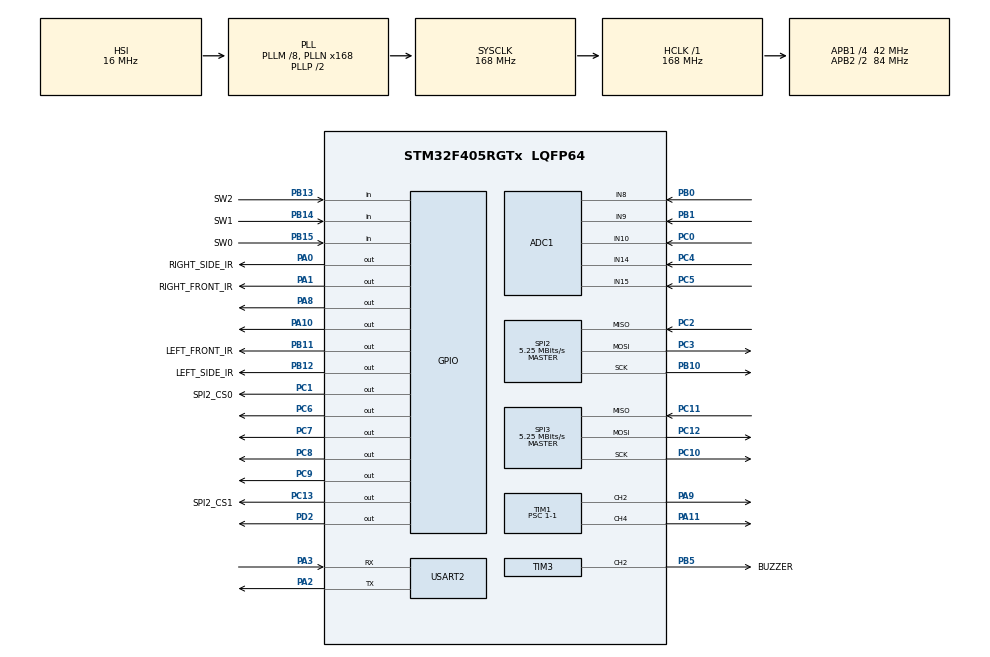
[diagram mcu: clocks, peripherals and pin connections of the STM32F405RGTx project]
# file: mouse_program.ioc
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ADC1.Channel-10\#ChannelRegularConversion=ADC_CHANNEL_14
ADC1.Channel-11\#ChannelRegularConversion=ADC_CHANNEL_10
ADC1.Channel-7\#ChannelRegularConversion=ADC_CHANNEL_9
ADC1.Channel-8\#ChannelRegularConversion=ADC_CHANNEL_8
ADC1.Channel-9\#ChannelRegularConversion=ADC_CHANNEL_15
ADC1.ContinuousConvMode=ENABLE
ADC1.DMAContinuousRequests=ENABLE
ADC1.DiscontinuousConvMode=DISABLE
ADC1.EOCSelection=ADC_EOC_SEQ_CONV
ADC1.NbrOfConversion=5
ADC1.NbrOfConversionFlag=1
ADC1.Rank-10\#ChannelRegularConversion=4
ADC1.Rank-11\#ChannelRegularConversion=5
ADC1.Rank-7\#ChannelRegularConversion=1
ADC1.Rank-8\#ChannelRegularConversion=2
ADC1.Rank-9\#ChannelRegularConversion=3
ADC1.SamplingTime-10\#ChannelRegularConversion=ADC_SAMPLETIME_15CYCLES
ADC1.SamplingTime-11\#ChannelRegularConversion=ADC_SAMPLETIME_28CYCLES
ADC1.SamplingTime-7\#ChannelRegularConversion=ADC_SAMPLETIME_15CYCLES
ADC1.SamplingTime-8\#ChannelRegularConversion=ADC_SAMPLETIME_15CYCLES
ADC1.SamplingTime-9\#ChannelRegularConversion=ADC_SAMPLETIME_15CYCLES
ADC1.ScanConvMode=ENABLE
ADC1.master=1
Dma.ADC1.0.Direction=DMA_PERIPH_TO_MEMORY
Dma.ADC1.0.FIFOMode=DMA_FIFOMODE_DISABLE
Dma.ADC1.0.Instance=DMA2_Stream0
Dma.ADC1.0.MemDataAlignment=DMA_MDATAALIGN_HALFWORD
Dma.ADC1.0.MemInc=DMA_MINC_ENABLE
Dma.ADC1.0.Mode=DMA_CIRCULAR
Dma.ADC1.0.PeriphDataAlignment=DMA_PDATAALIGN_HALFWORD
Dma.ADC1.0.PeriphInc=DMA_PINC_DISABLE
Dma.ADC1.0.Priority=DMA_PRIORITY_LOW
Dma.Request0=ADC1
Mcu.Family=STM32F4
Mcu.Name=STM32F405RGTx
Mcu.Package=LQFP64
NVIC.DMA2_Stream0_IRQn=true\:0\:0\:false\:false\:true\:false\:true\:true
NVIC.PriorityGroup=NVIC_PRIORITYGROUP_4
NVIC.TIM4_IRQn=true\:0\:0\:false\:false\:true\:true\:true\:true
NVIC.TIM5_IRQn=true\:0\:0\:false\:false\:true\:true\:true\:true
PA0-WKUP.GPIO_Label=RIGHT_SIDE_IR
PA0-WKUP.Signal=GPIO_Output
PA1.GPIO_Label=RIGHT_FRONT_IR
PA1.Signal=GPIO_Output
PA10.Signal=GPIO_Output
PA11.Signal=S_TIM1_CH4
PA13.Mode=Trace_Asynchronous_SW
PA13.Signal=SYS_JTMS-SWDIO
PA14.Mode=Trace_Asynchronous_SW
PA14.Signal=SYS_JTCK-SWCLK
PA2.Mode=Asynchronous
PA2.Signal=USART2_TX
PA3.Mode=Asynchronous
PA3.Signal=USART2_RX
PA8.Signal=GPIO_Output
PA9.Signal=S_TIM1_CH2
PB0.Signal=ADCx_IN8
PB1.Signal=ADCx_IN9
PB10.Mode=Full_Duplex_Master
PB10.Signal=SPI2_SCK
PB11.GPIO_Label=LEFT_FRONT_IR
PB11.Signal=GPIO_Output
PB12.GPIO_Label=LEFT_SIDE_IR
PB12.Signal=GPIO_Output
PB13.GPIO_Label=SW2
PB13.Signal=GPIO_Input
PB14.GPIO_Label=SW1
PB14.Signal=GPIO_Input
PB15.GPIO_Label=SW0
PB15.Signal=GPIO_Input
PB3.Mode=Trace_Asynchronous_SW
PB3.Signal=SYS_JTDO-SWO
PB5.GPIO_Label=BUZZER
PB5.Signal=S_TIM3_CH2
PC0.Signal=ADCx_IN10
PC1.GPIO_Label=SPI2_CS0
PC1.PinState=GPIO_PIN_SET
PC1.Signal=GPIO_Output
PC10.Mode=Full_Duplex_Master
PC10.Signal=SPI3_SCK
PC11.Mode=Full_Duplex_Master
PC11.Signal=SPI3_MISO
PC12.Mode=Full_Duplex_Master
PC12.Signal=SPI3_MOSI
PC13-ANTI_TAMP.GPIO_Label=SPI2_CS1
PC13-ANTI_TAMP.PinState=GPIO_PIN_SET
PC13-ANTI_TAMP.Signal=GPIO_Output
PC2.Mode=Full_Duplex_Master
PC2.Signal=SPI2_MISO
PC3.Mode=Full_Duplex_Master
PC3.Signal=SPI2_MOSI
PC4.Signal=ADCx_IN14
PC5.Signal=ADCx_IN15
PC6.Signal=GPIO_Output
PC7.Signal=GPIO_Output
PC8.Signal=GPIO_Output
PC9.Signal=GPIO_Output
PD2.PinState=GPIO_PIN_SET
PD2.Signal=GPIO_Output
ProjectManager.HeapSize=0x200
ProjectManager.StackSize=0x400
ProjectManager.TargetToolchain=STM32CubeIDE
RCC.48MHZClocksFreq_Value=84000000
RCC.AHBFreq_Value=168000000
RCC.APB1CLKDivider=RCC_HCLK_DIV4
RCC.APB1Freq_Value=42000000
RCC.APB1TimFreq_Value=84000000
RCC.APB2CLKDivider=RCC_HCLK_DIV2
RCC.APB2Freq_Value=84000000
RCC.APB2TimFreq_Value=168000000
RCC.CortexFreq_Value=168000000
RCC.HCLKFreq_Value=168000000
RCC.HSE_VALUE=25000000
RCC.HSI_VALUE=16000000
RCC.LSE_VALUE=32768
RCC.PLLM=8
RCC.PLLN=168
RCC.SYSCLKFreq_VALUE=168000000
RCC.SYSCLKSource=RCC_SYSCLKSOURCE_PLLCLK
RCC.VCOOutputFreq_Value=336000000
SH.ADCx_IN10.0=ADC1_IN10,IN10
SH.ADCx_IN14.0=ADC1_IN14,IN14
SH.ADCx_IN15.0=ADC1_IN15,IN15
SH.ADCx_IN8.0=ADC1_IN8,IN8
SH.ADCx_IN9.0=ADC1_IN9,IN9
SH.S_TIM1_CH2.0=TIM1_CH2,PWM Generation2 CH2
SH.S_TIM1_CH4.0=TIM1_CH4,PWM Generation4 CH4
SH.S_TIM3_CH2.0=TIM3_CH2,PWM Generation2 CH2
SPI2.BaudRatePrescaler=SPI_BAUDRATEPRESCALER_8
SPI2.CLKPhase=SPI_PHASE_2EDGE
SPI2.CalculateBaudRate=5.25 MBits/s
SPI2.DataSize=SPI_DATASIZE_16BIT
SPI2.Direction=SPI_DIRECTION_2LINES
SPI2.Mode=SPI_MODE_MASTER
SPI2.VirtualType=VM_MASTER
SPI3.BaudRatePrescaler=SPI_BAUDRATEPRESCALER_8
SPI3.CLKPhase=SPI_PHASE_2EDGE
SPI3.CLKPolarity=SPI_POLARITY_HIGH
SPI3.CalculateBaudRate=5.25 MBits/s
SPI3.DataSize=SPI_DATASIZE_8BIT
SPI3.Direction=SPI_DIRECTION_2LINES
SPI3.Mode=SPI_MODE_MASTER
SPI3.VirtualType=VM_MASTER
TIM1.Channel-PWM\ Generation2\ CH2=TIM_CHANNEL_2
TIM1.Channel-PWM\ Generation4\ CH4=TIM_CHANNEL_4
TIM1.Period=500-1
TIM1.Prescaler=1-1
TIM2.Prescaler=84-1
TIM3.Channel-PWM\ Generation2\ CH2=TIM_CHANNEL_2
TIM4.Period=250-1
TIM4.Prescaler=84-1
TIM5.Period=1000-1
TIM5.Prescaler=84-1
USART2.VirtualMode=VM_ASYNC
VP_TIM1_VS_ClockSourceINT.Mode=Internal
VP_TIM2_VS_ClockSourceINT.Mode=Internal
VP_TIM3_VS_ClockSourceINT.Mode=Internal
VP_TIM4_VS_ClockSourceINT.Mode=Internal
VP_TIM5_VS_ClockSourceINT.Mode=Internal
board=custom

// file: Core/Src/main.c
/* USER CODE BEGIN Header */
/**
  ******************************************************************************
  * @file           : main.c
  * @brief          : Main program body
  ******************************************************************************
  * @attention
  *
  * Copyright (c) 2022 STMicroelectronics.
  * All rights reserved.
  *
  * This software is licensed under terms that can be found in the LICENSE file
  * in the root directory of this software component.
  * If no LICENSE file comes with this software, it is provided AS-IS.
  *
  ******************************************************************************
  */
/* USER CODE END Header */
#include "main.h"

/* USER CODE BEGIN Includes */
#include <delay_us.h>
#include <global.h>
#include <run.h>
/* USER CODE END Includes */

ADC_HandleTypeDef hadc1;
DMA_HandleTypeDef hdma_adc1;

SPI_HandleTypeDef hspi2;
SPI_HandleTypeDef hspi3;

TIM_HandleTypeDef htim1;
TIM_HandleTypeDef htim2;
TIM_HandleTypeDef htim3;
TIM_HandleTypeDef htim4;
TIM_HandleTypeDef htim5;

UART_HandleTypeDef huart2;

void SystemClock_Config(void);
static void MX_GPIO_Init(void);
static void MX_DMA_Init(void);
static void MX_ADC1_Init(void);
static void MX_SPI2_Init(void);
static void MX_TIM1_Init(void);
static void MX_TIM2_Init(void);
static void MX_TIM3_Init(void);
static void MX_USART2_UART_Init(void);
static void MX_SPI3_Init(void);
static void MX_TIM4_Init(void);
static void MX_TIM5_Init(void);

int main(void)
{

  /* MCU Configuration--------------------------------------------------------*/

  /* Reset of all peripherals, Initializes the Flash interface and the Systick. */
  HAL_Init();

  /* Configure the system clock */
  SystemClock_Config();

  /* Initialize all configured peripherals */
  MX_GPIO_Init();
  MX_DMA_Init();
  MX_ADC1_Init();
  MX_SPI2_Init();
  MX_TIM1_Init();
  MX_TIM2_Init();
  MX_TIM3_Init();
  MX_USART2_UART_Init();
  MX_SPI3_Init();
  MX_TIM4_Init();
  MX_TIM5_Init();
  /* USER CODE BEGIN 2 */
  HAL_ADC_Start_DMA(&hadc1, (uint32_t*)adc_raw, 5);
  HAL_TIM_Base_Start(&htim2);
  HAL_TIM_Base_Start_IT(&htim4);
  HAL_TIM_Base_Start_IT(&htim5);
  int mode = 0;
  imu_init();
  init_maze();

  /* USER CODE END 2 */

  /* Infinite loop */
  /* USER CODE BEGIN WHILE */
  while (1)
  {
    switch (mode) {
      case 1:
        if (HAL_GPIO_ReadPin(SW1_GPIO_Port, SW1_Pin) == 0) {
          led_control(0xF);
          HAL_Delay(4000);
          led_control(0x0);
					angle_measured = 0;
					mypos.x = mypos.y = 0;			//座標を初期化
					mypos.dir = north;			//方角を初期化
          search_adachi(7, 7, 0.3, 1.0, 270.0, 270.0);
					//turn(180,TURN_ACCEL,TURN_SPEED,RIGHT);			//ゴールしたら180度回転する
					// mypos.dir = (mypos.dir+6) % 4;		//方角を更新
					// map_write();
					HAL_Delay(100);
					//search_adachi(0,0);			//スタート地点まで足立法で帰ってくる
					//turn(180,TURN_ACCEL,TURN_SPEED,RIGHT);			//帰ってきたら180度回転
					// map_write();

        }
        break;
      case 2:
        if (HAL_GPIO_ReadPin(SW1_GPIO_Port, SW1_Pin) == 0) {
          led_control(0xF);
          HAL_Delay(4000);
          led_control(0x0);
					angle_measured = 0;
					mypos.x = mypos.y = 0;			//座標を初期化
					mypos.dir = north;			//方角を初期化
          search_adachi(7, 7, 0.5, 1.0, 270.0, 270.0);
					HAL_Delay(100);
        }
        break;
      case 3:
        if (HAL_GPIO_ReadPin(SW1_GPIO_Port, SW1_Pin) == 0) {
          led_control(0xF);
          HAL_Delay(4000);
          led_control(0x0);
					angle_measured = 0;
					mypos.x = mypos.y = 0;			//座標を初期化
					mypos.dir = north;			//方角を初期化
          search_adachi(7, 7, 0.7, 1.2, 270.0, 270.0);
					HAL_Delay(100);
        }
        break;
      case 4:
        if (HAL_GPIO_ReadPin(SW1_GPIO_Port, SW1_Pin) == 0) {
          led_control(0xF);
          HAL_Delay(4000);
          led_control(0x0);
					angle_measured = 0;
					mypos.x = mypos.y = 0;			//座標を初期化
					mypos.dir = north;			//方角を初期化
          search_adachi(7, 7, 1.0, 1.2, 270.0, 270.0);
					HAL_Delay(100);
        }
        break;
      case 5:
        if (HAL_GPIO_ReadPin(SW1_GPIO_Port, SW1_Pin) == 0) {
          led_control(0xF);
          HAL_Delay(4000);
          led_control(0x0);
					angle_measured = 0;
					mypos.x = mypos.y = 0;			//座標を初期化
					mypos.dir = north;			//方角を初期化
          search_adachi(7, 7, 1.2, 1.5, 270.0, 270.0);
					HAL_Delay(100);
        }
        break;
      case 6:
        if (HAL_GPIO_ReadPin(SW1_GPIO_Port, SW1_Pin) == 0) {
          HAL_Delay(1000);
          straight(SECTION * 5.0, 0.3, 1.0, 0);
        }
        break;
      case 7:
        if (HAL_GPIO_ReadPin(SW1_GPIO_Port, SW1_Pin) == 0) {
          HAL_Delay(1000);
          turn(90.0, 270.0, 270.0, LEFT);
          turn(90.0, 270.0, 270.0, LEFT);
          turn(90.0, 270.0, 270.0, LEFT);
          turn(90.0, 270.0, 270.0, LEFT);
        }
        break;
      case 8:
        if (HAL_GPIO_ReadPin(SW1_GPIO_Port, SW1_Pin) == 0) {
          HAL_Delay(1000);
          turn(90.0, 270.0, 270.0, RIGHT);
          turn(90.0, 270.0, 270.0, RIGHT);
          turn(90.0, 270.0, 270.0, RIGHT);
          turn(90.0, 270.0, 270.0, RIGHT);
        }
        break;
      case 9:
        if (HAL_GPIO_ReadPin(SW1_GPIO_Port, SW1_Pin) == 0) {
          HAL_Delay(1000);
          straight(HALF_SECTION, 1.0, 0.3, 0);
          straight(SECTION, 1.0, 0.3, 0);
          straight(SECTION, 1.0, 0.3, 0);
          straight(SECTION, 1.0, 0.3, 0);
        }
        break;
      case 10:
        if (HAL_GPIO_ReadPin(SW1_GPIO_Port, SW1_Pin) == 0) {
          HAL_Delay(1000);
          straight(HALF_SECTION, 1.0, 0.3, 0.3);
          straight(SECTION, 1.0, 0.3, 0.3);
          straight(SECTION, 1.0, 0.3, 0.3);
          straight(SECTION, 1.0, 0.3, 0.3);
        }
        break;
    }
    if (HAL_GPIO_ReadPin(SW0_GPIO_Port, SW0_Pin) == 0) {
      mode++;
      HAL_Delay(500);
    }
    if (HAL_GPIO_ReadPin(SW2_GPIO_Port, SW2_Pin) == 0) {
      mode--;
      HAL_Delay(500);
    }
    if (mode > 15) {
      mode = 0;
    }
    if (mode < 0) {
      mode = 15;
    }
    led_control(mode);
    HAL_Delay(100);
    /* USER CODE END WHILE */

  }
}

void SystemClock_Config(void)
{
  RCC_OscInitTypeDef RCC_OscInitStruct = {0};
  RCC_ClkInitTypeDef RCC_ClkInitStruct = {0};

  /** Configure the main internal regulator output voltage
  */
  __HAL_RCC_PWR_CLK_ENABLE();
  __HAL_PWR_VOLTAGESCALING_CONFIG(PWR_REGULATOR_VOLTAGE_SCALE1);

  /** Initializes the RCC Oscillators according to the specified parameters
  * in the RCC_OscInitTypeDef structure.
  */
  RCC_OscInitStruct.OscillatorType = RCC_OSCILLATORTYPE_HSI;
  RCC_OscInitStruct.HSIState = RCC_HSI_ON;
  RCC_OscInitStruct.HSICalibrationValue = RCC_HSICALIBRATION_DEFAULT;
  RCC_OscInitStruct.PLL.PLLState = RCC_PLL_ON;
  RCC_OscInitStruct.PLL.PLLSource = RCC_PLLSOURCE_HSI;
  RCC_OscInitStruct.PLL.PLLM = 8;
  RCC_OscInitStruct.PLL.PLLN = 168;
  RCC_OscInitStruct.PLL.PLLP = RCC_PLLP_DIV2;
  RCC_OscInitStruct.PLL.PLLQ = 4;
  if (HAL_RCC_OscConfig(&RCC_OscInitStruct) != HAL_OK)
  {
    Error_Handler();
  }

  /** Initializes the CPU, AHB and APB buses clocks
  */
  RCC_ClkInitStruct.ClockType = RCC_CLOCKTYPE_HCLK|RCC_CLOCKTYPE_SYSCLK
                              |RCC_CLOCKTYPE_PCLK1|RCC_CLOCKTYPE_PCLK2;
  RCC_ClkInitStruct.SYSCLKSource = RCC_SYSCLKSOURCE_PLLCLK;
  RCC_ClkInitStruct.AHBCLKDivider = RCC_SYSCLK_DIV1;
  RCC_ClkInitStruct.APB1CLKDivider = RCC_HCLK_DIV4;
  RCC_ClkInitStruct.APB2CLKDivider = RCC_HCLK_DIV2;

  if (HAL_RCC_ClockConfig(&RCC_ClkInitStruct, FLASH_LATENCY_5) != HAL_OK)
  {
    Error_Handler();
  }
}

static void MX_ADC1_Init(void)
{

  ADC_ChannelConfTypeDef sConfig = {0};

  /** Configure the global features of the ADC (Clock, Resolution, Data Alignment and number of conversion)
  */
  hadc1.Instance = ADC1;
  hadc1.Init.ClockPrescaler = ADC_CLOCK_SYNC_PCLK_DIV4;
  hadc1.Init.Resolution = ADC_RESOLUTION_12B;
  hadc1.Init.ScanConvMode = ENABLE;
  hadc1.Init.ContinuousConvMode = ENABLE;
  hadc1.Init.DiscontinuousConvMode = DISABLE;
  hadc1.Init.ExternalTrigConvEdge = ADC_EXTERNALTRIGCONVEDGE_NONE;
  hadc1.Init.ExternalTrigConv = ADC_SOFTWARE_START;
  hadc1.Init.DataAlign = ADC_DATAALIGN_RIGHT;
  hadc1.Init.NbrOfConversion = 5;
  hadc1.Init.DMAContinuousRequests = ENABLE;
  hadc1.Init.EOCSelection = ADC_EOC_SEQ_CONV;
  if (HAL_ADC_Init(&hadc1) != HAL_OK)
  {
    Error_Handler();
  }

  /** Configure for the selected ADC regular channel its corresponding rank in the sequencer and its sample time.
  */
  sConfig.Channel = ADC_CHANNEL_9;
  sConfig.Rank = 1;
  sConfig.SamplingTime = ADC_SAMPLETIME_15CYCLES;
  if (HAL_ADC_ConfigChannel(&hadc1, &sConfig) != HAL_OK)
  {
    Error_Handler();
  }

  /** Configure for the selected ADC regular channel its corresponding rank in the sequencer and its sample time.
  */
  sConfig.Channel = ADC_CHANNEL_8;
  sConfig.Rank = 2;
  if (HAL_ADC_ConfigChannel(&hadc1, &sConfig) != HAL_OK)
  {
    Error_Handler();
  }

  /** Configure for the selected ADC regular channel its corresponding rank in the sequencer and its sample time.
  */
  sConfig.Channel = ADC_CHANNEL_15;
  sConfig.Rank = 3;
  if (HAL_ADC_ConfigChannel(&hadc1, &sConfig) != HAL_OK)
  {
    Error_Handler();
  }

  /** Configure for the selected ADC regular channel its corresponding rank in the sequencer and its sample time.
  */
  sConfig.Channel = ADC_CHANNEL_14;
  sConfig.Rank = 4;
  if (HAL_ADC_ConfigChannel(&hadc1, &sConfig) != HAL_OK)
  {
    Error_Handler();
  }

  /** Configure for the selected ADC regular channel its corresponding rank in the sequencer and its sample time.
  */
  sConfig.Channel = ADC_CHANNEL_10;
  sConfig.Rank = 5;
  sConfig.SamplingTime = ADC_SAMPLETIME_28CYCLES;
  if (HAL_ADC_ConfigChannel(&hadc1, &sConfig) != HAL_OK)
  {
    Error_Handler();
  }

}

static void MX_SPI2_Init(void)
{

  /* SPI2 parameter configuration*/
  hspi2.Instance = SPI2;
  hspi2.Init.Mode = SPI_MODE_MASTER;
  hspi2.Init.Direction = SPI_DIRECTION_2LINES;
  hspi2.Init.DataSize = SPI_DATASIZE_16BIT;
  hspi2.Init.CLKPolarity = SPI_POLARITY_LOW;
  hspi2.Init.CLKPhase = SPI_PHASE_2EDGE;
  hspi2.Init.NSS = SPI_NSS_SOFT;
  hspi2.Init.BaudRatePrescaler = SPI_BAUDRATEPRESCALER_8;
  hspi2.Init.FirstBit = SPI_FIRSTBIT_MSB;
  hspi2.Init.TIMode = SPI_TIMODE_DISABLE;
  hspi2.Init.CRCCalculation = SPI_CRCCALCULATION_DISABLE;
  hspi2.Init.CRCPolynomial = 10;
  if (HAL_SPI_Init(&hspi2) != HAL_OK)
  {
    Error_Handler();
  }

}

static void MX_SPI3_Init(void)
{

  /* SPI3 parameter configuration*/
  hspi3.Instance = SPI3;
  hspi3.Init.Mode = SPI_MODE_MASTER;
  hspi3.Init.Direction = SPI_DIRECTION_2LINES;
  hspi3.Init.DataSize = SPI_DATASIZE_8BIT;
  hspi3.Init.CLKPolarity = SPI_POLARITY_HIGH;
  hspi3.Init.CLKPhase = SPI_PHASE_2EDGE;
  hspi3.Init.NSS = SPI_NSS_SOFT;
  hspi3.Init.BaudRatePrescaler = SPI_BAUDRATEPRESCALER_8;
  hspi3.Init.FirstBit = SPI_FIRSTBIT_MSB;
  hspi3.Init.TIMode = SPI_TIMODE_DISABLE;
  hspi3.Init.CRCCalculation = SPI_CRCCALCULATION_DISABLE;
  hspi3.Init.CRCPolynomial = 10;
  if (HAL_SPI_Init(&hspi3) != HAL_OK)
  {
    Error_Handler();
  }

}

static void MX_TIM1_Init(void)
{

  TIM_ClockConfigTypeDef sClockSourceConfig = {0};
  TIM_MasterConfigTypeDef sMasterConfig = {0};
  TIM_OC_InitTypeDef sConfigOC = {0};
  TIM_BreakDeadTimeConfigTypeDef sBreakDeadTimeConfig = {0};

  htim1.Instance = TIM1;
  htim1.Init.Prescaler = 1-1;
  htim1.Init.CounterMode = TIM_COUNTERMODE_UP;
  htim1.Init.Period = 500-1;
  htim1.Init.ClockDivision = TIM_CLOCKDIVISION_DIV1;
  htim1.Init.RepetitionCounter = 0;
  htim1.Init.AutoReloadPreload = TIM_AUTORELOAD_PRELOAD_DISABLE;
  if (HAL_TIM_Base_Init(&htim1) != HAL_OK)
  {
    Error_Handler();
  }
  sClockSourceConfig.ClockSource = TIM_CLOCKSOURCE_INTERNAL;
  if (HAL_TIM_ConfigClockSource(&htim1, &sClockSourceConfig) != HAL_OK)
  {
    Error_Handler();
  }
  if (HAL_TIM_PWM_Init(&htim1) != HAL_OK)
  {
    Error_Handler();
  }
  sMasterConfig.MasterOutputTrigger = TIM_TRGO_RESET;
  sMasterConfig.MasterSlaveMode = TIM_MASTERSLAVEMODE_DISABLE;
  if (HAL_TIMEx_MasterConfigSynchronization(&htim1, &sMasterConfig) != HAL_OK)
  {
    Error_Handler();
  }
  sConfigOC.OCMode = TIM_OCMODE_PWM1;
  sConfigOC.Pulse = 0;
  sConfigOC.OCPolarity = TIM_OCPOLARITY_HIGH;
  sConfigOC.OCNPolarity = TIM_OCNPOLARITY_HIGH;
  sConfigOC.OCFastMode = TIM_OCFAST_DISABLE;
  sConfigOC.OCIdleState = TIM_OCIDLESTATE_RESET;
  sConfigOC.OCNIdleState = TIM_OCNIDLESTATE_RESET;
  if (HAL_TIM_PWM_ConfigChannel(&htim1, &sConfigOC, TIM_CHANNEL_2) != HAL_OK)
  {
    Error_Handler();
  }
  if (HAL_TIM_PWM_ConfigChannel(&htim1, &sConfigOC, TIM_CHANNEL_4) != HAL_OK)
  {
    Error_Handler();
  }
  sBreakDeadTimeConfig.OffStateRunMode = TIM_OSSR_DISABLE;
  sBreakDeadTimeConfig.OffStateIDLEMode = TIM_OSSI_DISABLE;
  sBreakDeadTimeConfig.LockLevel = TIM_LOCKLEVEL_OFF;
  sBreakDeadTimeConfig.DeadTime = 0;
  sBreakDeadTimeConfig.BreakState = TIM_BREAK_DISABLE;
  sBreakDeadTimeConfig.BreakPolarity = TIM_BREAKPOLARITY_HIGH;
  sBreakDeadTimeConfig.AutomaticOutput = TIM_AUTOMATICOUTPUT_DISABLE;
  if (HAL_TIMEx_ConfigBreakDeadTime(&htim1, &sBreakDeadTimeConfig) != HAL_OK)
  {
    Error_Handler();
  }
  HAL_TIM_MspPostInit(&htim1);

}

static void MX_TIM2_Init(void)
{

  TIM_ClockConfigTypeDef sClockSourceConfig = {0};
  TIM_MasterConfigTypeDef sMasterConfig = {0};

  htim2.Instance = TIM2;
  htim2.Init.Prescaler = 84-1;
  htim2.Init.CounterMode = TIM_COUNTERMODE_UP;
  htim2.Init.Period = 4294967295;
  htim2.Init.ClockDivision = TIM_CLOCKDIVISION_DIV1;
  htim2.Init.AutoReloadPreload = TIM_AUTORELOAD_PRELOAD_DISABLE;
  if (HAL_TIM_Base_Init(&htim2) != HAL_OK)
  {
    Error_Handler();
  }
  sClockSourceConfig.ClockSource = TIM_CLOCKSOURCE_INTERNAL;
  if (HAL_TIM_ConfigClockSource(&htim2, &sClockSourceConfig) != HAL_OK)
  {
    Error_Handler();
  }
  sMasterConfig.MasterOutputTrigger = TIM_TRGO_RESET;
  sMasterConfig.MasterSlaveMode = TIM_MASTERSLAVEMODE_DISABLE;
  if (HAL_TIMEx_MasterConfigSynchronization(&htim2, &sMasterConfig) != HAL_OK)
  {
    Error_Handler();
  }

}

static void MX_TIM3_Init(void)
{

  TIM_ClockConfigTypeDef sClockSourceConfig = {0};
  TIM_MasterConfigTypeDef sMasterConfig = {0};
  TIM_OC_InitTypeDef sConfigOC = {0};

  htim3.Instance = TIM3;
  htim3.Init.Prescaler = 0;
  htim3.Init.CounterMode = TIM_COUNTERMODE_UP;
  htim3.Init.Period = 65535;
  htim3.Init.ClockDivision = TIM_CLOCKDIVISION_DIV1;
  htim3.Init.AutoReloadPreload = TIM_AUTORELOAD_PRELOAD_DISABLE;
  if (HAL_TIM_Base_Init(&htim3) != HAL_OK)
  {
    Error_Handler();
  }
  sClockSourceConfig.ClockSource = TIM_CLOCKSOURCE_INTERNAL;
  if (HAL_TIM_ConfigClockSource(&htim3, &sClockSourceConfig) != HAL_OK)
  {
    Error_Handler();
  }
  if (HAL_TIM_PWM_Init(&htim3) != HAL_OK)
  {
    Error_Handler();
  }
  sMasterConfig.MasterOutputTrigger = TIM_TRGO_RESET;
  sMasterConfig.MasterSlaveMode = TIM_MASTERSLAVEMODE_DISABLE;
  if (HAL_TIMEx_MasterConfigSynchronization(&htim3, &sMasterConfig) != HAL_OK)
  {
    Error_Handler();
  }
  sConfigOC.OCMode = TIM_OCMODE_PWM1;
  sConfigOC.Pulse = 0;
  sConfigOC.OCPolarity = TIM_OCPOLARITY_HIGH;
  sConfigOC.OCFastMode = TIM_OCFAST_DISABLE;
  if (HAL_TIM_PWM_ConfigChannel(&htim3, &sConfigOC, TIM_CHANNEL_2) != HAL_OK)
  {
    Error_Handler();
  }
  HAL_TIM_MspPostInit(&htim3);

}

static void MX_TIM4_Init(void)
{

  TIM_ClockConfigTypeDef sClockSourceConfig = {0};
  TIM_MasterConfigTypeDef sMasterConfig = {0};

  htim4.Instance = TIM4;
  htim4.Init.Prescaler = 84-1;
  htim4.Init.CounterMode = TIM_COUNTERMODE_UP;
  htim4.Init.Period = 250-1;
  htim4.Init.ClockDivision = TIM_CLOCKDIVISION_DIV1;
  htim4.Init.AutoReloadPreload = TIM_AUTORELOAD_PRELOAD_DISABLE;
  if (HAL_TIM_Base_Init(&htim4) != HAL_OK)
  {
    Error_Handler();
  }
  sClockSourceConfig.ClockSource = TIM_CLOCKSOURCE_INTERNAL;
  if (HAL_TIM_ConfigClockSource(&htim4, &sClockSourceConfig) != HAL_OK)
  {
    Error_Handler();
  }
  sMasterConfig.MasterOutputTrigger = TIM_TRGO_RESET;
  sMasterConfig.MasterSlaveMode = TIM_MASTERSLAVEMODE_DISABLE;
  if (HAL_TIMEx_MasterConfigSynchronization(&htim4, &sMasterConfig) != HAL_OK)
  {
    Error_Handler();
  }

}

static void MX_TIM5_Init(void)
{

  TIM_ClockConfigTypeDef sClockSourceConfig = {0};
  TIM_MasterConfigTypeDef sMasterConfig = {0};

  htim5.Instance = TIM5;
  htim5.Init.Prescaler = 84-1;
  htim5.Init.CounterMode = TIM_COUNTERMODE_UP;
  htim5.Init.Period = 1000-1;
  htim5.Init.ClockDivision = TIM_CLOCKDIVISION_DIV1;
  htim5.Init.AutoReloadPreload = TIM_AUTORELOAD_PRELOAD_DISABLE;
  if (HAL_TIM_Base_Init(&htim5) != HAL_OK)
  {
    Error_Handler();
  }
  sClockSourceConfig.ClockSource = TIM_CLOCKSOURCE_INTERNAL;
  if (HAL_TIM_ConfigClockSource(&htim5, &sClockSourceConfig) != HAL_OK)
  {
    Error_Handler();
  }
  sMasterConfig.MasterOutputTrigger = TIM_TRGO_RESET;
  sMasterConfig.MasterSlaveMode = TIM_MASTERSLAVEMODE_DISABLE;
  if (HAL_TIMEx_MasterConfigSynchronization(&htim5, &sMasterConfig) != HAL_OK)
  {
    Error_Handler();
  }

}

static void MX_USART2_UART_Init(void)
{

  huart2.Instance = USART2;
  huart2.Init.BaudRate = 115200;
  huart2.Init.WordLength = UART_WORDLENGTH_8B;
  huart2.Init.StopBits = UART_STOPBITS_1;
  huart2.Init.Parity = UART_PARITY_NONE;
  huart2.Init.Mode = UART_MODE_TX_RX;
  huart2.Init.HwFlowCtl = UART_HWCONTROL_NONE;
  huart2.Init.OverSampling = UART_OVERSAMPLING_16;
  if (HAL_UART_Init(&huart2) != HAL_OK)
  {
    Error_Handler();
  }

}

static void MX_DMA_Init(void)
{

  /* DMA controller clock enable */
  __HAL_RCC_DMA2_CLK_ENABLE();

  /* DMA interrupt init */
  /* DMA2_Stream0_IRQn interrupt configuration */
  HAL_NVIC_SetPriority(DMA2_Stream0_IRQn, 0, 0);
  HAL_NVIC_EnableIRQ(DMA2_Stream0_IRQn);

}

static void MX_GPIO_Init(void)
{
  GPIO_InitTypeDef GPIO_InitStruct = {0};

  /* GPIO Ports Clock Enable */
  __HAL_RCC_GPIOC_CLK_ENABLE();
  __HAL_RCC_GPIOA_CLK_ENABLE();
  __HAL_RCC_GPIOB_CLK_ENABLE();
  __HAL_RCC_GPIOD_CLK_ENABLE();

  /*Configure GPIO pin Output Level */
  HAL_GPIO_WritePin(GPIOC, SPI2_CS1_Pin|SPI2_CS0_Pin, GPIO_PIN_SET);

  /*Configure GPIO pin Output Level */
  HAL_GPIO_WritePin(GPIOA, RIGHT_SIDE_IR_Pin|RIGHT_FRONT_IR_Pin|GPIO_PIN_8|GPIO_PIN_10, GPIO_PIN_RESET);

  /*Configure GPIO pin Output Level */
  HAL_GPIO_WritePin(GPIOB, LEFT_FRONT_IR_Pin|LEFT_SIDE_IR_Pin, GPIO_PIN_RESET);

  /*Configure GPIO pin Output Level */
  HAL_GPIO_WritePin(GPIOC, GPIO_PIN_6|GPIO_PIN_7|GPIO_PIN_8|GPIO_PIN_9, GPIO_PIN_RESET);

  /*Configure GPIO pin Output Level */
  HAL_GPIO_WritePin(GPIOD, GPIO_PIN_2, GPIO_PIN_SET);

  /*Configure GPIO pins : SPI2_CS1_Pin SPI2_CS0_Pin PC6 PC7
                           PC8 PC9 */
  GPIO_InitStruct.Pin = SPI2_CS1_Pin|SPI2_CS0_Pin|GPIO_PIN_6|GPIO_PIN_7
                          |GPIO_PIN_8|GPIO_PIN_9;
  GPIO_InitStruct.Mode = GPIO_MODE_OUTPUT_PP;
  GPIO_InitStruct.Pull = GPIO_NOPULL;
  GPIO_InitStruct.Speed = GPIO_SPEED_FREQ_LOW;
  HAL_GPIO_Init(GPIOC, &GPIO_InitStruct);

  /*Configure GPIO pins : RIGHT_SIDE_IR_Pin RIGHT_FRONT_IR_Pin PA8 PA10 */
  GPIO_InitStruct.Pin = RIGHT_SIDE_IR_Pin|RIGHT_FRONT_IR_Pin|GPIO_PIN_8|GPIO_PIN_10;
  GPIO_InitStruct.Mode = GPIO_MODE_OUTPUT_PP;
  GPIO_InitStruct.Pull = GPIO_NOPULL;
  GPIO_InitStruct.Speed = GPIO_SPEED_FREQ_LOW;
  HAL_GPIO_Init(GPIOA, &GPIO_InitStruct);

  /*Configure GPIO pins : LEFT_FRONT_IR_Pin LEFT_SIDE_IR_Pin */
  GPIO_InitStruct.Pin = LEFT_FRONT_IR_Pin|LEFT_SIDE_IR_Pin;
  GPIO_InitStruct.Mode = GPIO_MODE_OUTPUT_PP;
  GPIO_InitStruct.Pull = GPIO_NOPULL;
  GPIO_InitStruct.Speed = GPIO_SPEED_FREQ_LOW;
  HAL_GPIO_Init(GPIOB, &GPIO_InitStruct);

  /*Configure GPIO pins : SW2_Pin SW1_Pin SW0_Pin */
  GPIO_InitStruct.Pin = SW2_Pin|SW1_Pin|SW0_Pin;
  GPIO_InitStruct.Mode = GPIO_MODE_INPUT;
  GPIO_InitStruct.Pull = GPIO_NOPULL;
  HAL_GPIO_Init(GPIOB, &GPIO_InitStruct);

  /*Configure GPIO pin : PD2 */
  GPIO_InitStruct.Pin = GPIO_PIN_2;
  GPIO_InitStruct.Mode = GPIO_MODE_OUTPUT_PP;
  GPIO_InitStruct.Pull = GPIO_NOPULL;
  GPIO_InitStruct.Speed = GPIO_SPEED_FREQ_LOW;
  HAL_GPIO_Init(GPIOD, &GPIO_InitStruct);

}

void Error_Handler(void)
{
  __disable_irq();
  while (1)
  {
  }
}
